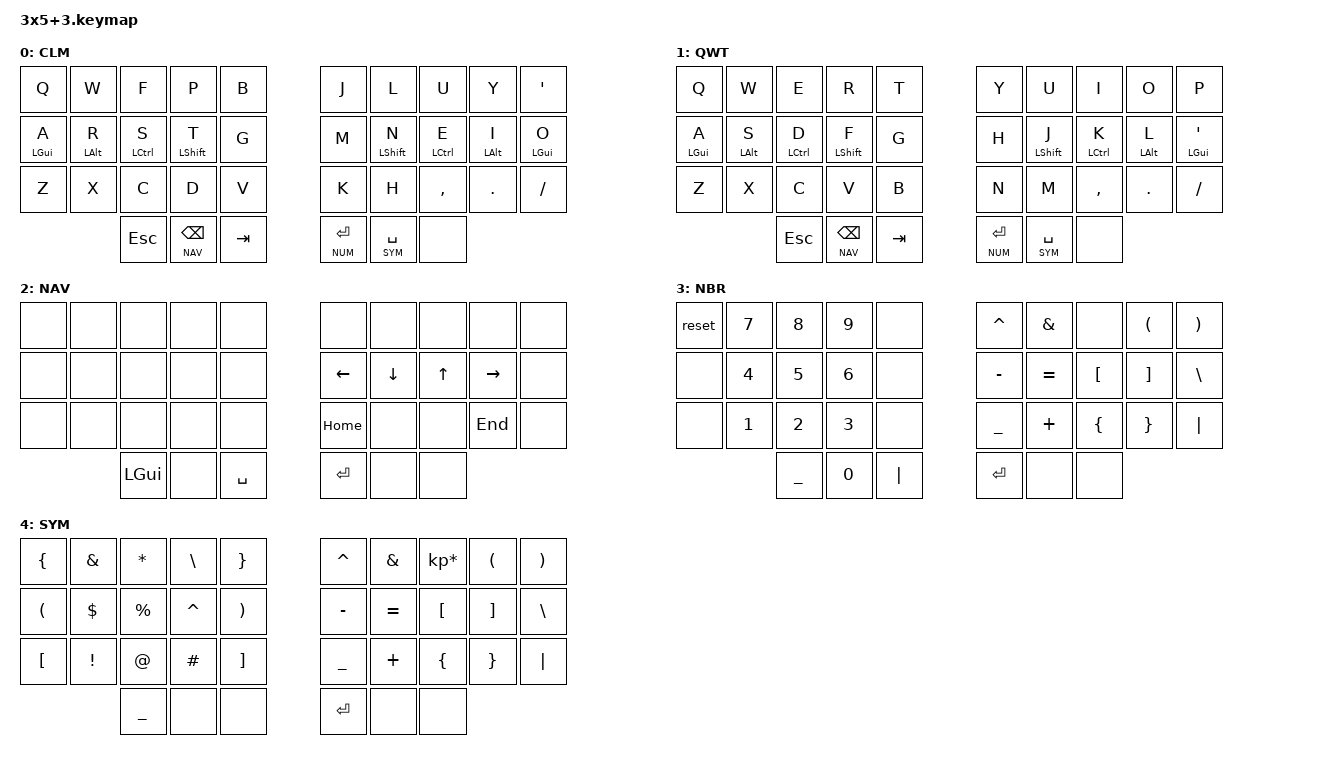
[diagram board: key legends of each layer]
/*
*
* Copyright (c) 2021 Darryl deHaan
* SPDX-License-Identifier: MIT
*
*/

#include <behaviors.dtsi>
#include <dt-bindings/zmk/keys.h>
#include <dt-bindings/zmk/bt.h>

#define COLEMAK 0
#define QWERTY 1
#define NAV 2
#define NUM 3 
#define SYM 4


&mt {
    flavor = "hold-preferred";
    tapping-term-ms = <150>;
};


/ {
        keymap {
                compatible = "zmk,keymap";

                default_layer {
                        label="CLM";
                        bindings = <
   &kp Q           &kp W           &kp F           &kp P           &kp B           &kp J           &kp L                   &kp U                   &kp Y                   &kp SQT              
   &mt LGUI A      &mt LALT R      &mt LCTRL S     &mt LSHIFT T    &kp G           &kp M           &mt LSHIFT N            &mt LCTRL E             &mt LALT I              &mt LGUI O           
   &kp Z           &kp X           &kp C           &kp D           &kp V           &kp K           &kp H                   &kp COMMA               &kp DOT                 &kp SLASH                
                                   &kp ESC         &lt NAV BSPC    &kp TAB         &lt NUM RET     &lt SYM SPACE           &none
                        >;
                };

                qwerty_layer {
                        label="QWT";
                        bindings = <
   &kp Q           &kp W           &kp E           &kp R           &kp T           &kp Y           &kp U                   &kp I                   &kp O                   &kp P              
   &mt LGUI A      &mt LALT S      &mt LCTRL D     &mt LSHIFT F    &kp G           &kp H           &mt LSHIFT J            &mt LCTRL K             &mt LALT L              &mt LGUI SQT           
   &kp Z           &kp X           &kp C           &kp V           &kp B           &kp N           &kp M                   &kp COMMA               &kp DOT                 &kp SLASH                
                                   &kp ESC         &lt NAV BSPC    &kp TAB         &lt NUM RET     &lt SYM SPACE           &none
                        >;
                };

                nav_layer {
                        label="NAV";
                        bindings = <
   &none           &none           &none           &none           &none           &none           &none                   &none                   &none                   &none
   &none           &none           &none           &none           &none           &kp LEFT        &kp DOWN                &kp UP                  &kp RIGHT               &none                   
   &none           &none           &none           &none           &none           &kp HOME        &none                   &none                   &kp END                 &none                   
                          	       &kp LGUI        &none           &kp SPACE       &kp RET         &none                   &none
                        >;
                };

                num_layer {
                        label="NBR";
                        bindings = <
   &reset          &kp N7          &kp N8          &kp N9          &none          &kp CARET       &kp AMPS                &none                   &kp LPAR                &kp RPAR               
   &none           &kp N4          &kp N5          &kp N6          &none          &kp MINUS       &kp EQUAL               &kp LBKT                &kp RBKT                &kp BSLH               
   &none           &kp N1          &kp N2          &kp N3          &none          &kp UNDER       &kp PLUS                &kp LBRC                &kp RBRC                &kp PIPE               
                    	           &kp UNDER       &kp N0          &kp PIPE       &kp RET         &none                   &none
                        >;
                };

                sym_layer {
                        label="SYM";
                        bindings = <
   &kp LBRC         &kp AMPS        &kp STAR        &kp BSLH       &kp RBRC       &kp CARET       &kp AMPS                &kp KP_MULTIPLY         &kp LPAR                &kp RPAR                
   &kp LPAR         &kp DLLR        &kp PRCNT       &kp CARET      &kp RPAR       &kp MINUS       &kp EQUAL               &kp LBKT                &kp RBKT                &kp BSLH                
   &kp LBKT         &kp EXCL        &kp AT          &kp HASH       &kp RBKT       &kp UNDER       &kp PLUS                &kp LBRC                &kp RBRC                &kp PIPE                
                    	            &kp UNDER       &none          &none          &kp RET         &none                   &none
                        >;
                };
        };
};
